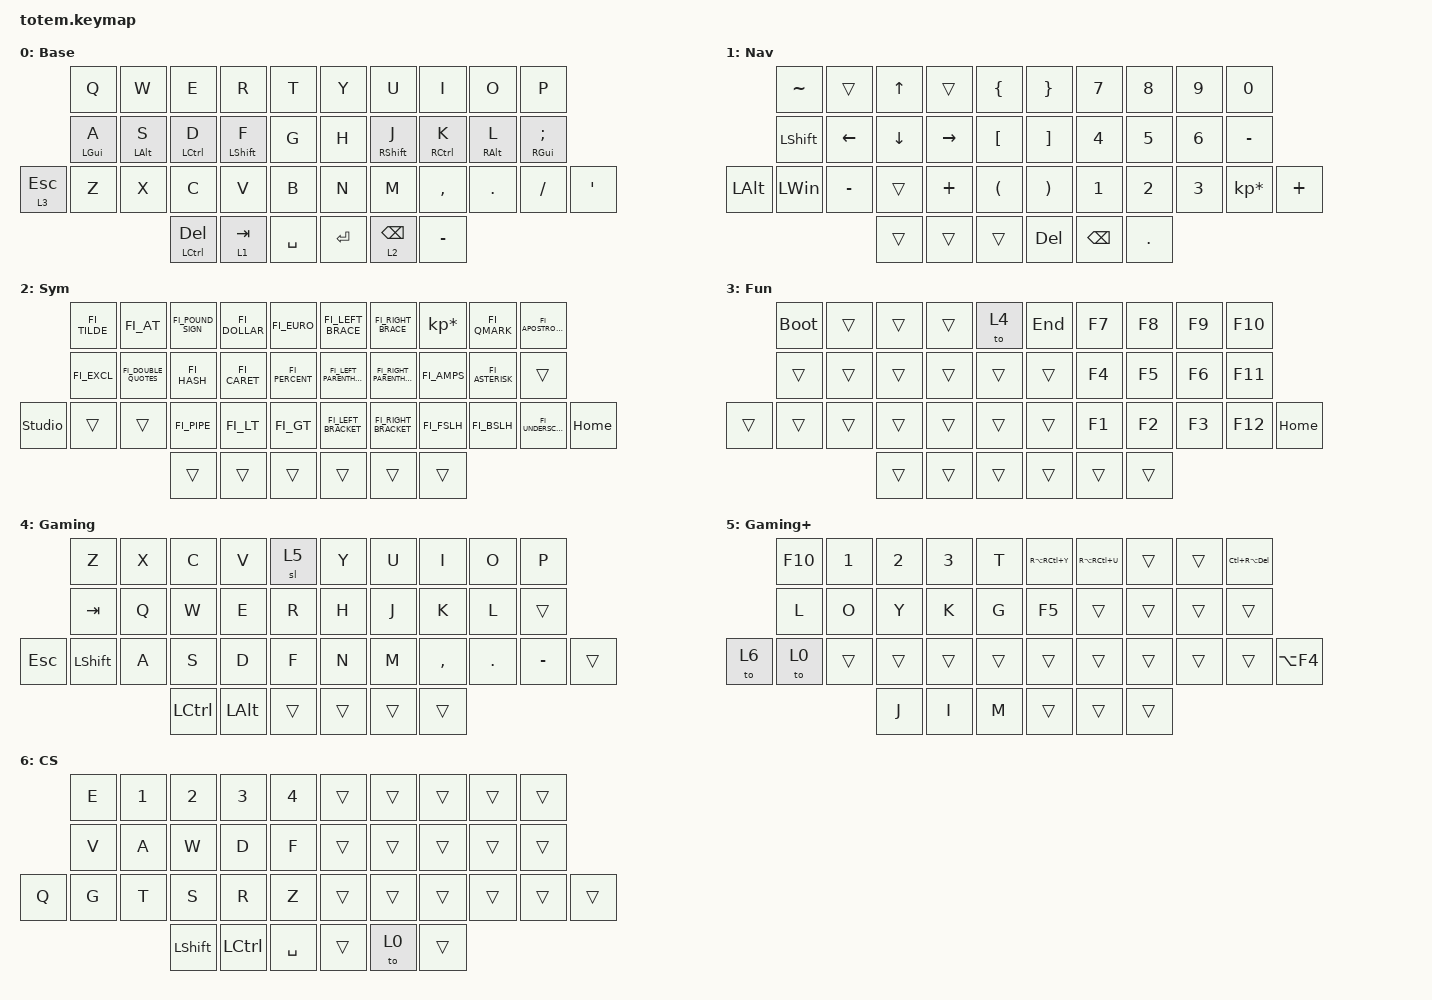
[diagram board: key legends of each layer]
//
//                                                        ▀▀▀▀▀     ▀▀▀▀▀          ▀▀█▀▀
//                                                        ▄▀▀▀▄  ▄  ▄▀▀▀▄  ▄  ▄▀▀▀▄  █  ▄▀▀▀▄
//                                                        █   █  █  █   █  █  █   █  █  █   █
//                                                         ▀▀▀   █   ▀▀▀   █   ▀▀▀   ▀   ▀▀▀
//                                                               █      ▄▄▄█▄▄▄    █   █  
//                                                               ▀      █  █  █     █▄█
//                                                             ▀▀▀▀▀    █  █  █      ▀
//                                                                      ▀  ▀  ▀
//
// ▄▄▄▄▄▄▄▄▄▄▄▄▄▄▄▄▄▄▄▄▄▄▄▄▄▄▄▄▄▄▄▄▄▄▄▄▄▄▄▄▄▄▄▄▄▄▄▄▄▄▄▄▄▄▄▄▄▄▄▄▄▄▄▄▄▄▄▄▄▄▄▄▄▄▄▄▄▄▄▄▄▄▄▄▄▄▄▄▄▄▄▄▄▄▄▄▄▄▄▄▄▄▄▄▄▄▄▄▄▄▄▄▄▄▄▄▄▄▄▄▄▄▄▄▄▄▄▄▄▄▄▄▄▄▄▄▄▄▄▄▄▄▄▄▄▄▄▄▄

#include "keys_fi.h"
#include <behaviors/rgbled_widget.dtsi>
#include <behaviors.dtsi>
#include <dt-bindings/zmk/keys.h>

#define Base        0
#define Nav         1
#define Sym         2
#define Fun         3
#define Game        4
#define Gameplus    5

&mt {
    quick-tap-ms = <100>;
    global-quick-tap;
    flavor = "tap-preferred";
    tapping-term-ms = <170>;
};

&lt {
    tapping-term-ms = <240>;
    flavor = "balanced";
    quick-tap-ms = <150>;
};

/ {
    behaviors {
        hm: homerow_mods {
            compatible = "zmk,behavior-hold-tap";
            label = "HOMEROW_MODS";
            #binding-cells = <2>;
            flavor = "tap-preferred";
            tapping-term-ms = <200>;
            quick-tap-ms = <125>;
            global-quick-tap;
            bindings = <&kp>, <&kp>;
        };
    };

    combos { compatible = "zmk,combos"; };

    keymap {
        compatible = "zmk,keymap";

        Base {
            display-name = "Base";
            bindings = <
              &kp Q       &kp W       &kp E          &kp R         &kp T        &kp Y    &kp U        &kp I        &kp O       &kp P
              &hm LGUI A  &hm LALT S  &hm LCTRL D    &hm LSHIFT F  &kp G        &kp H    &hm RSHFT J  &hm RCTRL K  &hm RALT L  &hm RGUI SEMICOLON
&lt 3 ESCAPE  &kp Z       &kp X       &kp C          &kp V         &kp B        &kp N    &kp M        &kp COMMA    &kp DOT     &kp SLASH           &kp APOSTROPHE
                                      &mt LCTRL DEL  &lt 1 TAB     &kp SPACE    &kp RET  &lt 2 BSPC   &kp MINUS
            >;
        };

        Nav {
            display-name = "Nav";
            bindings = <
              &kp TILDE       &trans     &kp UP_ARROW  &trans     &kp LBRC    &kp RBRC    &kp NUMBER_7   &kp NUMBER_8  &kp NUMBER_9  &kp NUMBER_0
              &kp LEFT_SHIFT  &kp LEFT   &kp DOWN      &kp RIGHT  &kp LBKT    &kp RBKT    &kp NUMBER_4   &kp NUMBER_5  &kp NUMBER_6  &kp MINUS
&kp LEFT_ALT  &kp LEFT_WIN    &kp MINUS  &trans        &kp PLUS   &kp LPAR    &kp RPAR    &kp NUMBER_1   &kp NUMBER_2  &kp NUMBER_3  &kp KP_MULTIPLY  &kp PLUS
                                         &trans        &trans     &trans      &kp DELETE  &kp BACKSPACE  &kp DOT
            >;
        };

        Sym {
            display-name = "Sym";
            bindings = <
                &kp FI_TILDE  &kp FI_AT             &kp FI_POUND_SIGN  &kp FI_DOLLAR  &kp FI_EURO       &kp FI_LEFT_BRACE        &kp FI_RIGHT_BRACE        &kp KP_ASTERISK  &kp FI_QMARK     &kp FI_APOSTROPHE
                &kp FI_EXCL   &kp FI_DOUBLE_QUOTES  &kp FI_HASH        &kp FI_CARET   &kp FI_PERCENT    &kp FI_LEFT_PARENTHESIS  &kp FI_RIGHT_PARENTHESIS  &kp FI_AMPS      &kp FI_ASTERISK  &trans
&studio_unlock  &trans        &trans                &kp FI_PIPE        &kp FI_LT      &kp FI_GT         &kp FI_LEFT_BRACKET      &kp FI_RIGHT_BRACKET      &kp FI_FSLH      &kp FI_BSLH      &kp FI_UNDERSCORE  &kp HOME
                                                    &trans             &trans         &trans            &trans                   &trans                    &trans
            >;
        };

        Fun {
            display-name = "Fun";
            bindings = <
        &bootloader  &trans  &trans  &trans  &to 4     &kp END  &kp F7  &kp F8  &kp F9  &kp F10
        &trans       &trans  &trans  &trans  &trans    &trans   &kp F4  &kp F5  &kp F6  &kp F11
&trans  &trans       &trans  &trans  &trans  &trans    &trans   &kp F1  &kp F2  &kp F3  &kp F12  &kp HOME
                             &trans  &trans  &trans    &trans   &trans  &trans
            >;
        };

        Gaming {
            display-name = "Gaming";
            bindings = <
            &kp Z           &kp X  &kp C      &kp V         &sl 5     &kp Y   &kp U   &kp I      &kp O    &kp P
            &kp TAB         &kp Q  &kp W      &kp E         &kp R     &kp H   &kp J   &kp K      &kp L    &trans
&kp ESCAPE  &kp LEFT_SHIFT  &kp A  &kp S      &kp D         &kp F     &kp N   &kp M   &kp COMMA  &kp DOT  &kp MINUS  &trans
                                   &kp LCTRL  &kp LEFT_ALT  &trans    &trans  &trans  &trans
            >;
        };

        Gaming+ {
            display-name = "Gaming+";
            bindings = <
       &kp F10  &kp NUMBER_1  &kp NUMBER_2  &kp NUMBER_3  &kp T     &kp RA(RC(Y))  &kp RA(RC(U))  &trans  &trans  &kp LC(RA(DEL))
       &kp L    &kp O         &kp Y         &kp K         &kp G     &kp F5         &trans         &trans  &trans  &trans
&to 6  &to 0    &trans        &trans        &trans        &trans    &trans         &trans         &trans  &trans  &trans           &kp LA(F4)
                              &kp J         &kp I         &kp M     &trans         &trans         &trans
            >;
        };

        CS {
            bindings = <
       &kp E  &kp N1  &kp N2     &kp N3     &kp N4       &trans  &trans  &trans  &trans  &trans
       &kp V  &kp A   &kp W      &kp D      &kp F        &trans  &trans  &trans  &trans  &trans
&kp Q  &kp G  &kp T   &kp S      &kp R      &kp Z        &trans  &trans  &trans  &trans  &trans  &trans
                      &kp LSHFT  &kp LCTRL  &kp SPACE    &trans  &to 0   &trans
            >;
        };
    };
};
